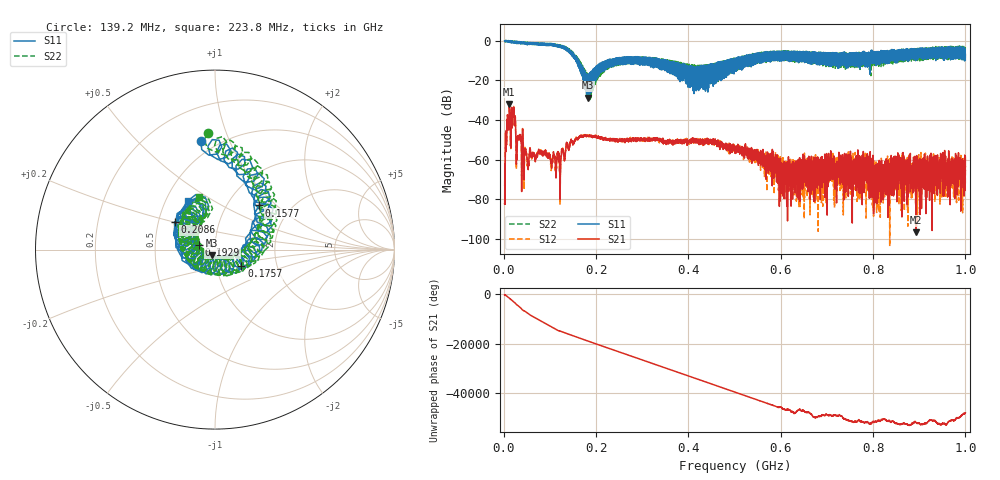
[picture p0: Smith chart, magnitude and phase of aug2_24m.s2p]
!Keysight Technologies N9923A: A.12.45
!Date: Saturday, 02 August 2025 19:12:59
!Timezone: (UTC+08:00) Kuala Lumpur, Singapore
!Model: N9923A
!Serial: MY61181427
!GPS Latitude:
!GPS Longitude:
!GPS TimeStamp: 0001-01-01 00:00:00Z
!GPS Seconds Since Last Read: 0
!CHECKSUM:1539743734
!Correction: S11(ON U)S21(ON U)S12(ON U)S22(ON U)
!S2P File: Measurements:S11,S21,S12,S22:
# Hz S DB R 50
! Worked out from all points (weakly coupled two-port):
!   4001 points, 2 MHz to 1 GHz, reference 50 ohm
!   highest |S21| = -31.93 dB at 12.23 MHz (marker M1); lowest = -96.7 dB at 893.5 MHz (marker M2)
!   lowest |S11| = -28.7 dB at 182.9 MHz (marker M3), VSWR 1.08, Z = 48 - j3.01 ohm
!   |S11| at or under -10 dB: 162.3 MHz to 223.5 MHz (61.17 MHz wide, 31.7 % of centre); 223.7 MHz to 225.2 MHz (1.444 MHz wide, 0.643 % of centre); 352.8 MHz to 483 MHz (130.2 MHz wide, 31.2 % of centre) (the widest 3 of 285)
!   |S22| runs from -29.8 to 0.1 dB; largest |S21 - S12| = 0.0025
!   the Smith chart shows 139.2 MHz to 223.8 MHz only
!   S11 on the Smith chart (normalised r, x): 139.2 MHz: 0.41, +0.79; 157.7 MHz: 1.40, +0.78; 175.7 MHz: 1.32, -0.25; 192.9 MHz: 0.84, +0.04; 208.6 MHz: 0.61, +0.20; 223.8 MHz: 0.65, +0.39
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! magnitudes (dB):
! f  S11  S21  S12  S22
! 2 MHz  -0.1  -82.1  -73.2  -0.1
! 8.238 MHz  0.1  -37.3  -37.3  -0.3
! 12.23 MHz  -0.7  -31.9  -31.9  -0.8
! 20.96 MHz  -1.1  -36.5  -36.2  -0.9
! 48.16 MHz  -1.4  -55.9  -56.3  -1.1
! 118 MHz  -3.2  -55.9  -55.9  -2.9
! 139.2 MHz  -4.3  -53.4  -52.6  -3.8
! 157.7 MHz  -9.2  -49.4  -49.9  -8.1
! 168.4 MHz  -15.0  -47.9  -48.3  -15.5
! 175.7 MHz  -15.2  -48.1  -47.7  -14.6
! 182.9 MHz  -28.7  -48.1  -47.5  -23.7
! 192.9 MHz  -20.7  -48.2  -48.0  -25.1
! 208.6 MHz  -11.3  -48.9  -49.0  -12.2
! 223.8 MHz  -10.1  -49.6  -49.9  -10.3
! 334.8 MHz  -11.7  -49.7  -49.5  -9.5
! 417.2 MHz  -25.2  -50.8  -51.0  -15.5
! 501 MHz  -12.3  -55.7  -55.4  -13.6
! 609.8 MHz  -9.5  -63.5  -61.4  -5.9
! 667.4 MHz  -6.7  -68.7  -68.0  -10.5
! 833.8 MHz  -6.6  -66.0  -60.7  -7.9
! 893.5 MHz  -6.7  -96.7  -65.3  -6.5
! 1 GHz  -6.9  -58.8  -63.3  -2.9
